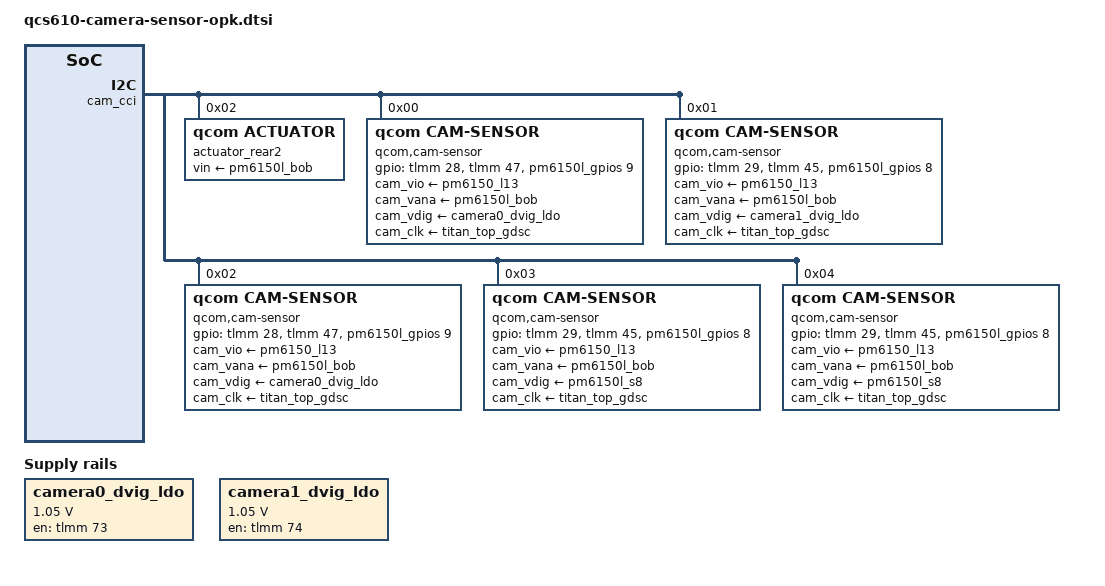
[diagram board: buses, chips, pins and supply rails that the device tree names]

&soc {
	camera0_dvig_ldo: gpio-regulator@0 {
		compatible = "regulator-fixed";
		regulator-name = "camera0_dvig_ldo";
		regulator-min-microvolt = <1050000>;
		regulator-max-microvolt = <1050000>;
		regulator-enable-ramp-delay = <233>;
                enable-active-high;
		gpio = <&tlmm 73 0>;
	};

	camera1_dvig_ldo: gpio-regulator@1 {
		compatible = "regulator-fixed";
		regulator-name = "camera1_dvig_ldo";
		regulator-min-microvolt = <1050000>;
		regulator-max-microvolt = <1050000>;
		regulator-enable-ramp-delay = <233>;
		enable-active-high;
		gpio = <&tlmm 74 0>;
	};

	qcom,cam-res-mgr {
		compatible = "qcom,cam-res-mgr";
		status = "ok";
	};
};

&cam_cci {
	actuator_rear2: actuator@2 {
		cell-index = <2>;
		reg = <0x2>;
		compatible = "qcom,actuator";
		cci-master = <0>;
		regulator-names = "cam_vaf";
		rgltr-min-voltage = <3800000>;
		rgltr-max-voltage = <3800000>;
		rgltr-load-current = <100000>;
		vin-supply = <&pm6150l_bob>;
		status = "ok";
	};

	qcom,cam-sensor@0 {
		cell-index = <0>;
		compatible = "qcom,cam-sensor";
		reg = <0x0>;
		csiphy-sd-index = <0>;
		sensor-position-roll = <90>;
		sensor-position-pitch = <0>;
		sensor-position-yaw = <180>;
		cam_vio-supply = <&pm6150_l13>;
		cam_vana-supply = <&pm6150l_bob>;
		cam_vdig-supply = <&camera0_dvig_ldo>;
		cam_clk-supply = <&titan_top_gdsc>;
		regulator-names = "cam_vio", "cam_vana", "cam_vdig",
			"cam_clk";
		rgltr-cntrl-support;
		rgltr-min-voltage = <1800000 3296000 1050000 0>;
		rgltr-max-voltage = <1800000 3960000 1050000 0>;
		rgltr-load-current = <0 80000 105000 0>;
		gpio-no-mux = <0>;
		pinctrl-names = "cam_default", "cam_suspend";
		pinctrl-0 = <&cam_sensor_mclk0_active
				&cam_sensor_rear_active>;
		pinctrl-1 = <&cam_sensor_mclk0_suspend
				&cam_sensor_rear_suspend>;
		gpios = <&tlmm 28 0>,
			<&tlmm 47 0>,
                        <&pm6150l_gpios 9 0>;
		gpio-reset = <1>;
		gpio-vdig = <2>;
		gpio-req-tbl-num = <0 1 2>;
		gpio-req-tbl-flags = <1 0 0>;
		gpio-req-tbl-label = "CAMIF_MCLK0",
					"CAM_RESET0",
					"CAM_VDIG1";
		sensor-mode = <0>;
		cci-master = <0>;
		status = "ok";
		clocks = <&camcc CAM_CC_MCLK0_CLK>;
		clock-names = "cam_clk";
		clock-cntl-level = "turbo";
		clock-rates = <24000000>;
	};

	qcom,cam-sensor@1 {
		cell-index = <1>;
		compatible = "qcom,cam-sensor";
		reg = <0x1>;
		csiphy-sd-index = <1>;
		sensor-position-roll = <90>;
		sensor-position-pitch = <0>;
		sensor-position-yaw = <180>;
		cam_vio-supply = <&pm6150_l13>;
		cam_vana-supply = <&pm6150l_bob>;
		cam_vdig-supply = <&camera1_dvig_ldo>;
		cam_clk-supply = <&titan_top_gdsc>;
		regulator-names = "cam_vio", "cam_vana", "cam_vdig",
			"cam_clk";
		rgltr-cntrl-support;
		rgltr-min-voltage = <1800000 3296000 1050000 0>;
		rgltr-max-voltage = <1800000 3960000 1050000 0>;
		rgltr-load-current = <0 80000 105000 0>;
		gpio-no-mux = <0>;
		pinctrl-names = "cam_default", "cam_suspend";
		pinctrl-0 = <&cam_sensor_mclk1_active
				&cam_sensor_rear2_active>;
		pinctrl-1 = <&cam_sensor_mclk1_suspend
				&cam_sensor_rear2_suspend>;
		gpios = <&tlmm 29 0>,
			<&tlmm 45 0>,
                        <&pm6150l_gpios 8 0>;
		gpio-reset = <1>;
		gpio-vdig = <2>;
		gpio-req-tbl-num = <0 1 2>;
		gpio-req-tbl-flags = <1 0 0>;
		gpio-req-tbl-label = "CAMIF_MCLK1",
					"CAM_RESET1",
					"CAM_VDIG1";
		sensor-mode = <0>;
		cci-master = <1>;
		status = "ok";
		clocks = <&camcc CAM_CC_MCLK1_CLK>;
		clock-names = "cam_clk";
		clock-cntl-level = "turbo";
		clock-rates = <24000000>;
	};

	qcom,cam-sensor@2 {
		cell-index = <2>;
		compatible = "qcom,cam-sensor";
		reg = <0x2>;
		csiphy-sd-index = <0>;
		sensor-position-roll = <90>;
		sensor-position-pitch = <0>;
		sensor-position-yaw = <180>;
		actuator-src = <&actuator_rear2>;
		cam_vio-supply = <&pm6150_l13>;
		cam_vana-supply = <&pm6150l_bob>;
		cam_vdig-supply = <&camera0_dvig_ldo>;
		cam_clk-supply = <&titan_top_gdsc>;
		regulator-names = "cam_vio", "cam_vana", "cam_vdig",
			"cam_clk";
		rgltr-cntrl-support;
		rgltr-min-voltage = <1800000 3296000 1050000 0>;
		rgltr-max-voltage = <1800000 3960000 1050000 0>;
		rgltr-load-current = <0 80000 105000 0>;
		gpio-no-mux = <0>;
		pinctrl-names = "cam_default", "cam_suspend";
		pinctrl-0 = <&cam_sensor_mclk0_active
				&cam_sensor_rear_active>;
		pinctrl-1 = <&cam_sensor_mclk0_suspend
				&cam_sensor_rear_suspend>;
		gpios = <&tlmm 28 0>,
			<&tlmm 47 0>,
                        <&pm6150l_gpios 9 0>;
		gpio-reset = <1>;
		gpio-vdig = <2>;
		gpio-req-tbl-num = <0 1 2>;
		gpio-req-tbl-flags = <1 0 0>;
		gpio-req-tbl-label = "CAMIF_MCLK2",
					"CAM_RESET2",
					"CAM_VDIG1";
		sensor-mode = <0>;
		cci-master = <0>;
		status = "ok";
		clocks = <&camcc CAM_CC_MCLK0_CLK>;
		clock-names = "cam_clk";
		clock-cntl-level = "turbo";
		clock-rates = <24000000>;
	};

	qcom,cam-sensor@3 {
		cell-index = <3>;
		compatible = "qcom,cam-sensor";
		reg = <0x3>;
		csiphy-sd-index = <1>;
		sensor-position-roll = <90>;
		sensor-position-pitch = <0>;
		sensor-position-yaw = <180>;
		cam_vio-supply = <&pm6150_l13>;
		cam_vana-supply = <&pm6150l_bob>;
		cam_vdig-supply = <&pm6150l_s8>;
		cam_clk-supply = <&titan_top_gdsc>;
		regulator-names = "cam_vio", "cam_vana", "cam_vdig",
			"cam_clk";
		rgltr-cntrl-support;
		rgltr-min-voltage = <1800000 3296000 1200000 0>;
		rgltr-max-voltage = <1800000 3960000 1200000 0>;
		rgltr-load-current = <0 80000 105000 0>;
		gpio-no-mux = <0>;
		pinctrl-names = "cam_default", "cam_suspend";
		pinctrl-0 = <&cam_sensor_mclk1_active
				&cam_sensor_rear2_active>;
		pinctrl-1 = <&cam_sensor_mclk1_suspend
				&cam_sensor_rear2_suspend>;
		gpios = <&tlmm 29 0>,
			<&tlmm 45 0>,
                        <&pm6150l_gpios 8 0>;
		gpio-reset = <1>;
		gpio-vdig = <2>;
		gpio-req-tbl-num = <0 1 2>;
		gpio-req-tbl-flags = <1 0 0>;
		gpio-req-tbl-label = "CAMIF_MCLK1",
					"CAM_RESET0",
					"CAM_VDIG1";
		sensor-mode = <0>;
		cci-master = <1>;
		status = "ok";
		clocks = <&camcc CAM_CC_MCLK1_CLK>;
		clock-names = "cam_clk";
		clock-cntl-level = "turbo";
		clock-rates = <37209304>;
	};

	qcom,cam-sensor@4 {
		cell-index = <4>;
		compatible = "qcom,cam-sensor";
		reg = <0x4>;
		csiphy-sd-index = <1>;
		sensor-position-roll = <90>;
		sensor-position-pitch = <0>;
		sensor-position-yaw = <180>;
		cam_vio-supply = <&pm6150_l13>;
		cam_vana-supply = <&pm6150l_bob>;
		cam_vdig-supply = <&pm6150l_s8>;
		cam_clk-supply = <&titan_top_gdsc>;
		regulator-names = "cam_vio", "cam_vana", "cam_vdig",
			"cam_clk";
		rgltr-cntrl-support;
		rgltr-min-voltage = <1800000 3296000 1200000 0>;
		rgltr-max-voltage = <1800000 3960000 1200000 0>;
		rgltr-load-current = <0 80000 105000 0>;
		gpio-no-mux = <0>;
		pinctrl-names = "cam_default", "cam_suspend";
		pinctrl-0 = <&cam_sensor_mclk1_active
				&cam_sensor_rear2_active>;
		pinctrl-1 = <&cam_sensor_mclk1_suspend
				&cam_sensor_rear2_suspend>;
		gpios = <&tlmm 29 0>,
			<&tlmm 45 0>,
                        <&pm6150l_gpios 8 0>;
		gpio-reset = <1>;
		gpio-vdig = <2>;
		gpio-req-tbl-num = <0 1 2>;
		gpio-req-tbl-flags = <1 0 0>;
		gpio-req-tbl-label = "CAMIF_MCLK4",
					"CAM_RESET4",
					"CAM_VDIG4";
		sensor-mode = <0>;
		cci-master = <1>;
		status = "ok";
		clocks = <&camcc CAM_CC_MCLK1_CLK>;
		clock-names = "cam_clk";
		clock-cntl-level = "turbo";
		clock-rates = <24000000>;
	};

};
